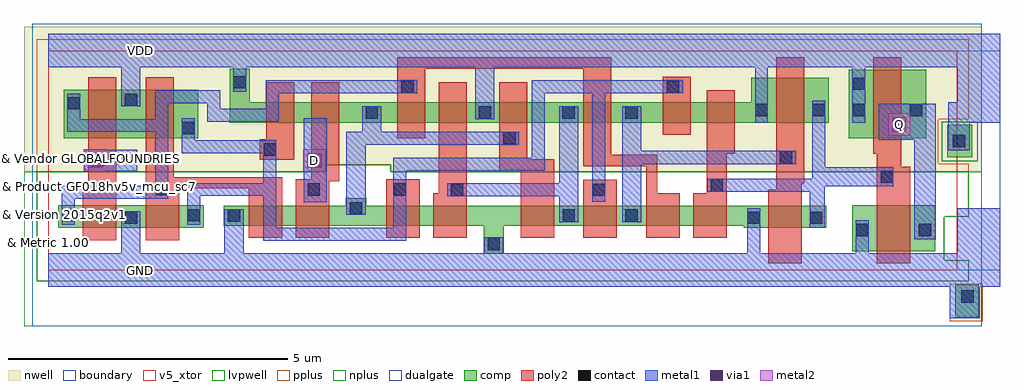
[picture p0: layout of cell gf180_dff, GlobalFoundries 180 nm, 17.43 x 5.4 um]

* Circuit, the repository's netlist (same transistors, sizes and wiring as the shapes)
* gf180mcu 1RW SRAM DFF hard cell.
* Extracted from gf180mcu_fd_sc_mcu7t5v0__dffq_1 (GF018hv5v_mcu_sc7, 5 V devices,
* valid at 3.3 V).  Wells are tied to the rails: VNW -> VDD, VPW -> GND.
.subckt gf180_dff D Q CLK VDD GND
X_tn3 GND CLK ncki GND nfet_05v0 W=4.05e-07 L=6e-07
X_tn4 cki ncki GND GND nfet_05v0 W=4.05e-07 L=6e-07
X_tn5 net5 ncki GND GND nfet_05v0 W=3.6e-07 L=6e-07
X_tn8 net4 D net5 GND nfet_05v0 W=3.6e-07 L=6e-07
X_tn6 net6 cki net4 GND nfet_05v0 W=3.6e-07 L=6e-07
X_tn7 GND net0 net6 GND nfet_05v0 W=3.6e-07 L=6e-07
X_tn0 net0 net4 GND GND nfet_05v0 W=3.6e-07 L=6e-07
X_tn9 net2 cki net0 GND nfet_05v0 W=3.6e-07 L=6e-07
X_tn11 net1 ncki net2 GND nfet_05v0 W=3.6e-07 L=6e-07
X_tn12 GND net3 net1 GND nfet_05v0 W=3.6e-07 L=6e-07
X_tn10 net3 net2 GND GND nfet_05v0 W=4e-07 L=6e-07
X_tn1 Q net3 GND GND nfet_05v0 W=8.2e-07 L=6e-07
X_tp3 VDD CLK ncki VDD pfet_05v0 W=8.65e-07 L=5e-07
X_tp4 cki ncki VDD VDD pfet_05v0 W=8.65e-07 L=5e-07
X_tp12 net7 cki VDD VDD pfet_05v0 W=3.6e-07 L=5e-07
X_tp11 net4 D net7 VDD pfet_05v0 W=3.6e-07 L=5e-07
X_tp6 net8 ncki net4 VDD pfet_05v0 W=3.6e-07 L=5e-07
X_tp5 VDD net0 net8 VDD pfet_05v0 W=3.6e-07 L=5e-07
X_tp0 net0 net4 VDD VDD pfet_05v0 W=3.6e-07 L=5e-07
X_tp7 net2 ncki net0 VDD pfet_05v0 W=3.6e-07 L=5e-07
X_tp9 net1x cki net2 VDD pfet_05v0 W=3.6e-07 L=5e-07
X_tp10 VDD net3 net1x VDD pfet_05v0 W=3.6e-07 L=5e-07
X_tp8 net3 net2 VDD VDD pfet_05v0 W=8e-07 L=5e-07
X_tp1 Q net3 VDD VDD pfet_05v0 W=1.22e-06 L=5e-07
.ends

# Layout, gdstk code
import gdstk
lib = gdstk.Library(unit=1e-6, precision=1e-09)
def R(c, l, rs):  # rectangles x0, y0, x1, y1
    for r in rs: c.add(gdstk.rectangle(r[:2], r[2:], *l))
def P(c, l, *ps):  # polygons
    for p in ps: c.add(gdstk.Polygon(p, *l))
boundary = (0, 0)
nwell = (21, 0)
comp = (22, 0)
poly2 = (30, 0)
pplus = (31, 0)
nplus = (32, 0)
contact = (33, 0)
metal1 = (34, 0)
via1 = (35, 0)
metal2 = (36, 0)
dualgate = (55, 0)
v5_xtor = (112, 1)
lvpwell = (204, 0)

gf180_dff = lib.new_cell('gf180_dff')
R(gf180_dff, boundary, [(0,0,17,3.92)])
P(gf180_dff, nwell, [(-0.43,1.76),(-0.43,4.35),(16.67,4.35),(16.67,1.76),(6.12,1.76),(6.12,1.885),(4.865,1.885),(4.865,1.76)])
R(gf180_dff, comp, [(16.2,-0.84,16.62,-0.26), (14.36,0.34,15.84,1.16), (0.18,0.755,2.78,1.16), (16.06,2.02,16.5,2.6), (0.28,2.36,2.68,3.225), (14.3,2.36,15.68,3.58)])
P(gf180_dff, comp, [(7.78,0.29),(7.78,0.795),(3.14,0.795),(3.14,1.155),(5.32,1.155),(5.32,1.285),(5.68,1.285),(5.68,1.155),(13.9,1.155),(13.9,0.755),(12.42,0.755),(12.42,0.795),(8.14,0.795),(8.14,0.29)],
  [(3.24,2.635),(3.24,3.6),(3.6,3.6),(3.6,2.995),(12.56,2.995),(12.56,3.435),(13.94,3.435),(13.94,2.635)])
R(gf180_dff, poly2, [(6.04,0.575,6.64,1.62), (9.56,0.575,10.16,1.615), (10.98,2.415,11.48,3.455)])
P(gf180_dff, poly2, [(0.62,0.535),(0.62,1.44),(0.72,1.44),(0.72,3.45),(1.22,3.45),(1.22,0.535)],
  [(1.74,0.535),(1.74,3.45),(2.24,3.45),(2.24,1.66),(4.18,1.66),(4.18,0.575),(3.58,0.575),(3.58,1.46),(2.34,1.46),(2.34,0.535)],
  [(3.78,1.975),(3.78,2.335),(3.9,2.335),(3.9,3.36),(4.4,3.36),(4.4,1.975)],
  [(4.42,0.575),(4.42,1.62),(4.7,1.62),(4.7,3.36),(5.2,3.36),(5.2,1.585),(5.02,1.585),(5.02,0.575)],
  [(6.88,0.575),(6.88,1.375),(6.98,1.375),(6.98,3.36),(7.48,3.36),(7.48,0.575)],
  [(8.44,0.575),(8.44,1.78),(8.06,1.78),(8.06,3.36),(8.56,3.36),(8.56,1.98),(9.04,1.98),(9.04,0.575)],
  [(10.68,0.575),(10.68,1.86),(9.555,1.86),(9.555,3.6),(6.74,3.6),(6.74,2.355),(6.24,2.355),(6.24,3.8),(10.055,3.8),(10.055,2.06),(10.88,2.06),(10.88,1.375),(11.28,1.375),(11.28,0.575)],
  [(11.52,0.575),(11.52,1.375),(11.76,1.375),(11.76,3.215),(12.26,3.215),(12.26,2.08),(12.12,2.08),(12.12,0.575)],
  [(12.86,0.12),(12.86,1.44),(13,1.44),(13,3.8),(13.5,3.8),(13.5,1.555),(13.46,1.555),(13.46,0.12)],
  [(14.8,0.12),(14.8,2.08),(14.74,2.08),(14.74,3.8),(15.24,3.8),(15.24,1.85),(15.4,1.85),(15.4,0.12)])
R(gf180_dff, pplus, [(16.1,-0.91,16.69,-0.24)])
P(gf180_dff, pplus, [(4.865,1.885),(6.12,1.885),(6.12,1.76),(16.44,1.76),(16.44,1.9),(15.9,1.9),(15.9,2.7),(16.44,2.7),(16.44,4.12),(-0.2,4.12),(-0.2,1.76),(4.865,1.76)])
R(gf180_dff, nplus, [(15.96,1.95,16.6,2.65)])
P(gf180_dff, nplus, [(16.44,0.18),(16,0.18),(16,0.95),(16.44,0.95),(16.44,1.76),(6.12,1.76),(6.12,1.885),(4.865,1.885),(4.865,1.76),(-0.2,1.76),(-0.2,-0.2),(16.44,-0.2)])
R(gf180_dff, contact, [(16.31,-0.58,16.53,-0.36), (7.85,0.36,8.07,0.58), (14.43,0.61,14.65,0.83), (15.55,0.61,15.77,0.83), (1.37,0.825,1.59,1.045), (12.49,0.825,12.71,1.045), (13.61,0.825,13.83,1.045), (3.21,0.865,3.43,1.085), (9.19,0.865,9.41,1.085), (10.31,0.865,10.53,1.085), (0.25,0.87,0.47,1.09), (2.49,0.87,2.71,1.09), (5.39,0.995,5.61,1.215), (7.19,1.325,7.41,1.545), (9.725,1.325,9.945,1.545), (4.635,1.33,4.855,1.55), (6.17,1.33,6.39,1.55), (1.92,1.34,2.14,1.56), (11.83,1.405,12.05,1.625), (14.87,1.56,15.09,1.78), (0.79,1.855,1.01,2.075), (13.07,1.9,13.29,2.12), (3.85,2.045,4.07,2.265), (16.16,2.2,16.38,2.42), (8.13,2.245,8.35,2.465), (2.39,2.43,2.61,2.65), (5.67,2.705,5.89,2.925), (7.69,2.705,7.91,2.925), (9.185,2.705,9.405,2.925), (10.31,2.705,10.53,2.925), (12.63,2.75,12.85,2.97), (13.65,2.75,13.87,2.97), (14.37,2.75,14.59,2.97), (15.39,2.75,15.61,2.97), (0.35,2.87,0.57,3.09), (1.37,2.935,1.59,3.155), (6.31,3.165,6.53,3.385), (11.05,3.165,11.27,3.385), (14.37,3.22,14.59,3.44), (3.31,3.245,3.53,3.465)])
R(gf180_dff, metal1, [(16.1,-0.86,16.64,0.3), (16.24,-0.3,17,1.105), (1.46,-0.19,1.84,0.19), (4.57,1.21,4.975,2.71), (0.65,1.77,1.59,2.15), (0.65,1.77,1.03,2.15), (4.57,1.77,4.95,2.15), (16.08,2.14,16.46,3), (15.01,2.41,15.39,2.79), (16.24,2.635,17,4.22), (1.46,3.73,1.84,4.11)])
P(gf180_dff, metal1, [(0.245,0.81),(0.245,1.51),(1.915,1.51),(1.915,2.47),(0.345,2.47),(0.345,3.155),(0.575,3.155),(0.575,2.7),(1.915,2.7),(1.915,3.215),(3.075,3.215),(3.075,2.885),(3.89,2.885),(3.89,3.39),(6.59,3.39),(6.59,3.16),(4.12,3.16),(4.12,2.65),(2.845,2.65),(2.845,2.98),(2.145,2.98),(2.145,1.28),(0.475,1.28),(0.475,0.81)],
  [(5.325,0.99),(5.325,2.47),(5.61,2.47),(5.61,2.93),(5.95,2.93),(5.95,2.47),(8.41,2.47),(8.41,2.24),(5.67,2.24),(5.67,0.99)],
  [(9.13,0.86),(9.13,1.32),(7.13,1.32),(7.13,1.55),(9.125,1.55),(9.125,2.93),(9.47,2.93),(9.47,0.86)],
  [(3.845,0.53),(3.845,1.325),(2.715,1.325),(2.715,0.81),(2.485,0.81),(2.485,1.555),(3.845,1.555),(3.845,2.09),(2.385,2.09),(2.385,2.71),(2.615,2.71),(2.615,2.325),(4.075,2.325),(4.075,0.76),(6.165,0.76),(6.165,2.01),(8.64,2.01),(8.64,3.39),(11.33,3.39),(11.33,3.16),(9.95,3.16),(9.95,1.225),(9.72,1.225),(9.72,3.16),(8.87,3.16),(8.87,1.78),(6.395,1.78),(6.395,0.53)],
  [(10.25,0.86),(10.25,2.93),(10.59,2.93),(10.59,2.13),(13.35,2.13),(13.35,1.895),(10.59,1.895),(10.59,0.86)],
  [(13.605,0.755),(13.605,1.4),(11.77,1.4),(11.77,1.63),(13.645,1.63),(13.645,3.03),(13.875,3.03),(13.875,1.84),(15.095,1.84),(15.095,1.5),(13.87,1.5),(13.87,0.755)],
  [(15.47,0.55),(15.47,2.33),(14.835,2.33),(14.835,2.975),(15.85,2.975),(15.85,0.55)],
  [(0,-0.3),(0,0.3),(1.31,0.3),(1.31,1.05),(1.65,1.05),(1.65,0.3),(3.15,0.3),(3.15,1.09),(3.49,1.09),(3.49,0.3),(7.79,0.3),(7.79,0.585),(8.13,0.585),(8.13,0.3),(12.485,0.3),(12.485,1.105),(12.715,1.105),(12.715,0.3),(14.425,0.3),(14.425,0.89),(14.655,0.89),(14.655,0.3),(16.24,0.3),(16.24,-0.3)],
  [(12.625,2.635),(12.625,3.62),(7.97,3.62),(7.97,2.7),(7.63,2.7),(7.63,3.62),(3.535,3.62),(3.535,3.185),(3.305,3.185),(3.305,3.62),(1.65,3.62),(1.65,2.93),(1.31,2.93),(1.31,3.62),(0,3.62),(0,4.22),(16.24,4.22),(16.24,3.62),(14.595,3.62),(14.595,2.635),(14.365,2.635),(14.365,3.62),(12.855,3.62),(12.855,2.635)])
R(gf180_dff, via1, [(0.71,1.83,0.97,2.09), (4.63,1.83,4.89,2.09), (15.07,2.47,15.33,2.73)])
R(gf180_dff, metal2, [(0.64,1.76,1.04,2.16), (4.56,1.76,4.96,2.16), (15,2.4,15.4,2.8)])
R(gf180_dff, dualgate, [(-0.28,-1,16.67,4.4)])
R(gf180_dff, v5_xtor, [(0,0,16.24,3.92)])
P(gf180_dff, lvpwell, [(6.12,1.76),(6.12,1.885),(4.865,1.885),(4.865,1.76),(-0.43,1.76),(-0.43,-1),(16.67,-1),(16.67,1.76)])
gf180_dff.add(gdstk.Label('& Vendor GLOBALFOUNDRIES', (0,2), layer=63, texttype=63))
gf180_dff.add(gdstk.Label('& Product GF018hv5v_mcu_sc7', (0,1.5), layer=63, texttype=63))
gf180_dff.add(gdstk.Label('& Version 2015q2v1', (0,1), layer=63, texttype=63))
gf180_dff.add(gdstk.Label('& Metric 1.00', (0,0.5), layer=63, texttype=63))
gf180_dff.add(gdstk.Label('D', (4.76,1.96), layer=36, texttype=0))
gf180_dff.add(gdstk.Label('Q', (15.2,2.6), layer=36, texttype=0))
gf180_dff.add(gdstk.Label('CLK', (0.84,1.96), layer=36, texttype=0))
gf180_dff.add(gdstk.Label('VDD', (1.65,3.92), layer=34, texttype=0))
gf180_dff.add(gdstk.Label('GND', (1.65,0), layer=34, texttype=0))

lib.write_gds('gf180_dff.gds')
